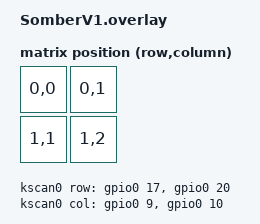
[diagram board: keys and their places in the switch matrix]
#include <dt-bindings/zmk/matrix_transform.h>

/ {
    chosen {
        zmk,kscan = &kscan0;
        zmk,matrix_transform = &transform0;
    };

    kscan0: kscan {
        compatible = "zmk,kscan-gpio-matrix";
        diode-direction = "row2col";
        row-gpios = <&gpio0 17 (GPIO_ACTIVE_HIGH | GPIO_PULL_DOWN)>,
        row-gpios = <&gpio0 20 (GPIO_ACTIVE_HIGH | GPIO_PULL_DOWN)>;
        col-gpios = <&gpio0 9  GPIO_ACTIVE_HIGH>, 
        col-gpios = <&gpio0 10 GPIO_ACTIVE_HIGH>;
    };

    transform0: matrix_transform {
        compatible = "zmk,matrix-transform";
        rows = <2>;
        columns = <2>;
        map = <
        RC(0,0) RC(0,1)
        RC(1,1) RC(1,2)
        >;
    };
};
